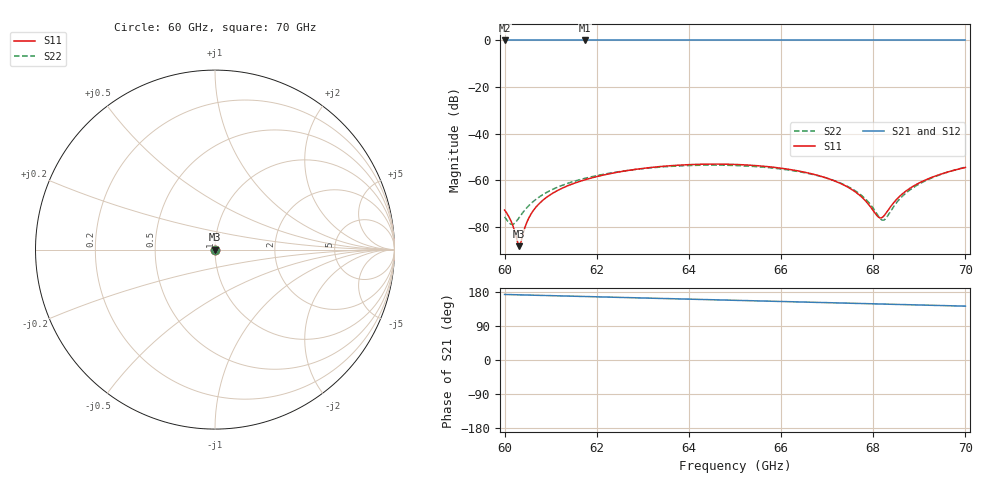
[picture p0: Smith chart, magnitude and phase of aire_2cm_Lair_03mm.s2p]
! TOUCHSTONE file generated by CST MICROWAVE STUDIO
! Date and time: Sun Mar  3 12:20:15 2024
! Project name: aire_def.cst
! Parameters = {d=8.7}
! Header version: 2018
! Port assignment regex: !\s*Touchstone port\s*([0-9]+)\s*=\s*(CST MWS port|CST DS port)\s*([0-9]+|Zmin|Zmax)\s*\(\"(.*)\"\)(\s*mode\s*([0-9]+))?.*
! Touchstone port assignment:
! Touchstone port 1 = CST MWS port 1 ("")
! Touchstone port 2 = CST MWS port 2 ("")
# GHz S MA R 376.7
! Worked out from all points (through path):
!   1001 points, 60 GHz to 70 GHz, reference 376.7 ohm
!   highest |S21| = 0.00 dB at 61.74 GHz (marker M1); lowest = 0.0 dB at 60 GHz (marker M2)
!   group delay of S21, straight-line fit = 8.56 ps
!   lowest |S11| = -88.3 dB at 60.32 GHz (marker M3), VSWR 1.00, Z = 377 + j0.0034 ohm
!   |S11| at or under -10 dB: start of sweep to end of sweep
!   |S22| runs from -79.0 to -53.5 dB; largest |S21 - S12| = 0.00076
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60  0.000228 -102.8  0.9996 172.9  1 173.0  0.0001626 -56.8
60.16  0.0001182 -112.3  0.9996 172.4  1 172.5  0.0001121 -11.7
60.22  7.909e-05 -122.5  0.9996 172.3  1 172.3  0.0001195 9.5
60.32  3.824e-05 173.2  0.9997 172.0  1 172.0  0.0001596 34.4
60.44  9.576e-05 109.4  0.9997 171.6  1 171.6  0.0002291 49.5
60.65  0.0002418 94.5  0.9998 170.9  1 170.9  0.0003673 60.6
60.91  0.000428 89.8  0.9999 170.1  1 170.1  0.0005445 65.9
61.67  0.0009684 84.7  1 167.8  1 167.8  0.001049 69.8
61.74  0.001017 84.4  1 167.6  1 167.6  0.001093 69.8
63.34  0.001945 77.2  1 162.6  1 162.6  0.001897 67.2
65  0.002175 70.0  1 157.5  1 157.5  0.002066 61.0
66.67  0.001364 66.4  1 152.3  0.9997 152.3  0.001339 52.6
67.19  0.0009383 68.1  1 150.7  0.9996 150.7  0.0009476 48.4
67.59  0.0005795 73.3  1 149.5  0.9996 149.5  0.000608 42.5
67.87  0.0003266 85.7  1 148.7  0.9996 148.6  0.0003599 32.3
68.13  0.0001571 136.5  1 147.9  0.9996 147.8  0.0001592 -5.5
68.23  0.0001703 172.0  1 147.6  0.9996 147.5  0.0001388 -44.0
68.34  0.0002399 -163.1  1 147.2  0.9996 147.2  0.0001891 -79.7
68.6  0.0004754 -142.2  1 146.4  0.9997 146.4  0.0004199 -107.8
68.93  0.000804 -134.4  1 145.4  0.9997 145.4  0.0007564 -117.1
69.4  0.001279 -130.2  1 144.0  0.9998 143.9  0.001255 -122.0
70  0.001874 -127.8  1 142.1  0.9999 142.1  0.001902 -124.9
